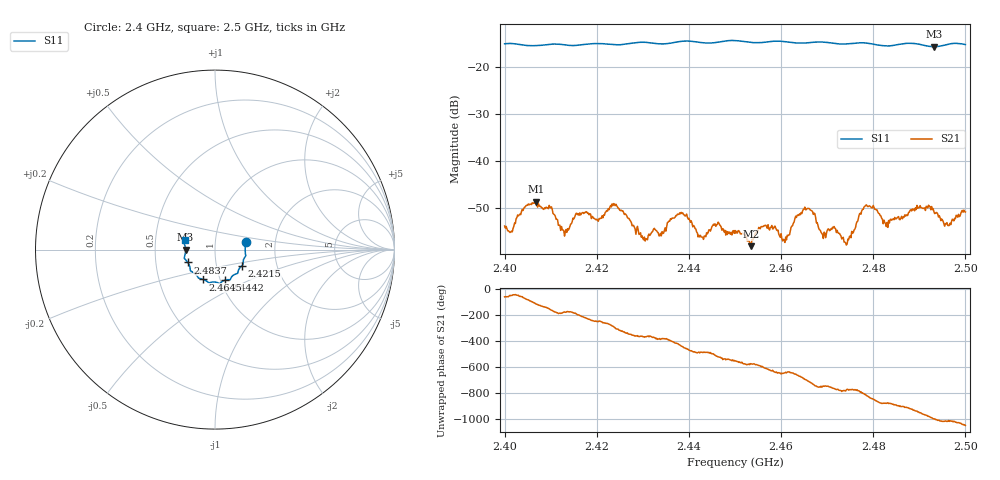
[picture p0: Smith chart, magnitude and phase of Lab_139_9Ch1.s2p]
# Hz S RI R 50
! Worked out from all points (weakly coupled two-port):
!   601 points, 2.4 GHz to 2.5 GHz, reference 50 ohm
!   highest |S21| = -48.75 dB at 2.4068 GHz (marker M1); lowest = -58.2 dB at 2.4535 GHz (marker M2)
!   lowest |S11| = -15.7 dB at 2.4932 GHz (marker M3), VSWR 1.39, Z = 35.9 - j0.0504 ohm
!   |S11| at or under -10 dB: start of sweep to end of sweep
!   S12 and S22 are empty: the file has one direction only
!   S11 on the Smith chart (normalised r, x): 2.4 GHz: 1.41, +0.12; 2.4215 GHz: 1.33, -0.25; 2.4442 GHz: 1.05, -0.37; 2.4645 GHz: 0.83, -0.29; 2.4837 GHz: 0.73, -0.11; 2.5 GHz: 0.71, +0.07
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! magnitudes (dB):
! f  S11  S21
! 2.4 GHz  -15.1  -53.9
! 2.4068 GHz  -15.5  -48.7
! 2.413 GHz  -15.3  -56.1
! 2.4167 GHz  -15.3  -51.2
! 2.4215 GHz  -15.1  -51.6
! 2.4238 GHz  -15.3  -49.3
! 2.4302 GHz  -14.8  -56.9
! 2.4333 GHz  -15.1  -55.3
! 2.4382 GHz  -14.6  -51.3
! 2.4442 GHz  -15.0  -55.3
! 2.45 GHz  -14.4  -54.9
! 2.4535 GHz  -14.8  -58.2
! 2.4563 GHz  -14.8  -53.8
! 2.4607 GHz  -14.6  -56.9
! 2.4645 GHz  -15.0  -51.3
! 2.4667 GHz  -14.8  -50.7
! 2.4742 GHz  -15.1  -58.0
! 2.4785 GHz  -14.9  -49.4
! 2.4833 GHz  -15.6  -52.7
! 2.4837 GHz  -15.5  -52.6
! 2.4932 GHz  -15.7  -50.9
! 2.5 GHz  -15.3  -50.9
